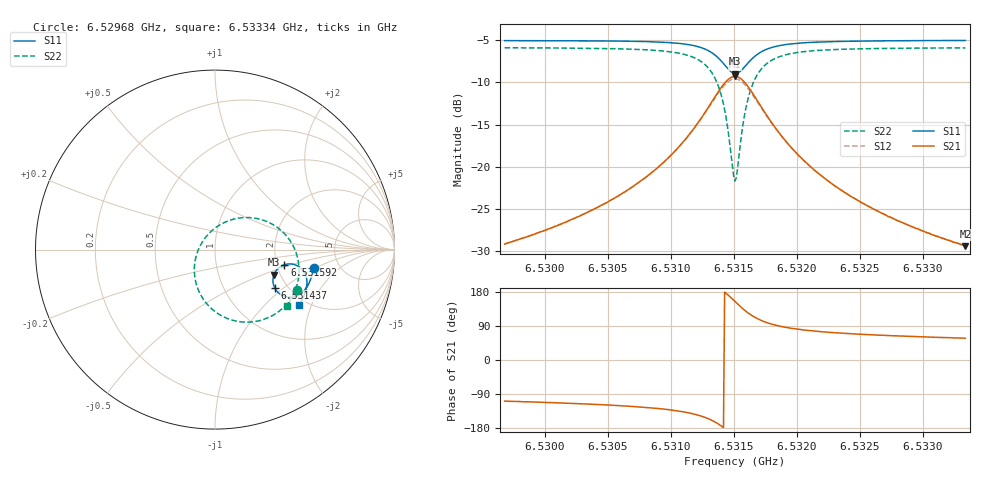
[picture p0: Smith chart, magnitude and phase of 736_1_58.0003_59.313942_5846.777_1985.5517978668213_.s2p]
#  HZ  S  RI  R  50.00
! Rohde & Schwarz Vector Network Analyzer
! Rohde-Schwarz,ZNB20-2Port,1311601062101988,3.16
! Created: UTC 3/21/2024, 1:23:17 AM
! freq[Hz]  re:S11  im:S11  re:S21  im:S21  re:S12  im:S12  re:S22  im:S22
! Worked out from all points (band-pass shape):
!   401 points, 6.52968 GHz to 6.53334 GHz, reference 50 ohm
!   highest |S21| = -9.28 dB at 6.53151 GHz (marker M1); lowest = -29.4 dB at 6.53334 GHz (marker M2)
!   |S21| within 3 dB of the highest: 6.531326 GHz to 6.531693 GHz (366.7 kHz wide, 0.00561 % of centre)
!   lowest |S11| = -8.9 dB at 6.53151 GHz (marker M3), VSWR 2.11, Z = 92.8 - j29.7 ohm
!   |S11| at or under -10 dB: nowhere
!   |S22| runs from -21.7 to -5.9 dB; largest |S21 - S12| = 0.015
!   S11 on the Smith chart (normalised r, x): 6.52968 GHz: 3.22, -0.99; 6.531437 GHz: 1.72, -0.87; 6.531592 GHz: 2.20, -0.44; 6.53334 GHz: 1.81, -1.64
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6.5296796e9  0.5501 -0.1051  -0.011 -0.0329  -0.0118 -0.0328  0.4564 -0.2232
6.5302928e9  0.5362 -0.1571  -0.0223 -0.0466  -0.0235 -0.0461  0.4195 -0.2812
6.5306222e9  0.5231 -0.1887  -0.0361 -0.06  -0.0378 -0.0591  0.3835 -0.3211
6.5309059e9  0.5031 -0.2209  -0.0621 -0.0788  -0.0645 -0.0769  0.3252 -0.3646
6.5311255e9  0.4702 -0.2504  -0.1109 -0.0986  -0.1141 -0.0943  0.2276 -0.4
6.5312811e9  0.4185 -0.2654  -0.1914 -0.0987  -0.1933 -0.0903  0.0827 -0.3889
6.5313726e9  0.3676 -0.2514  -0.2693 -0.0582  -0.2662 -0.0464  -0.0433 -0.3046
6.5314092e9  0.346 -0.2331  -0.3008 -0.0204  -0.2943 -0.00854  -0.0885 -0.2349
6.5314367e9  0.3324 -0.2127  -0.3186 0.0183  -0.3094 0.0292  -0.1101 -0.1669
6.5314916e9  0.3239 -0.1588  -0.3217 0.1154  -0.3083 0.1206  -0.0957 -0.00761
6.5315099e9  0.3288 -0.1397  -0.3098 0.1481  -0.2962 0.1509  -0.07 0.0433
6.5315282e9  0.3375 -0.1223  -0.2918 0.1779  -0.2785 0.1782  -0.035 0.0882
6.5315648e9  0.3637 -0.0954  -0.2422 0.2228  -0.2313 0.2194  0.0538 0.1519
6.5315923e9  0.3871 -0.084  -0.2002 0.241  -0.1918 0.2364  0.1259 0.1747
6.5316197e9  0.4101 -0.0797  -0.1595 0.2476  -0.1533 0.2428  0.1943 0.1782
6.5316563e9  0.4373 -0.0821  -0.1128 0.2433  -0.1087 0.239  0.2717 0.1628
6.5317478e9  0.4814 -0.1064  -0.038 0.2059  -0.0363 0.2034  0.3918 0.0836
6.5318851e9  0.5062 -0.1462  0.00559 0.1505  0.00675 0.1494  0.4548 -0.0263
6.532123e9  0.5119 -0.1936  0.0223 0.0954  0.0234 0.095  0.4673 -0.1378
6.5324159e9  0.5049 -0.2312  0.0236 0.0636  0.0247 0.0633  0.4532 -0.2092
6.5327362e9  0.4934 -0.2621  0.0218 0.0455  0.0226 0.0452  0.4339 -0.2563
6.5333402e9  0.4689 -0.3089  0.0183 0.0284  0.0189 0.0282  0.3985 -0.3139
